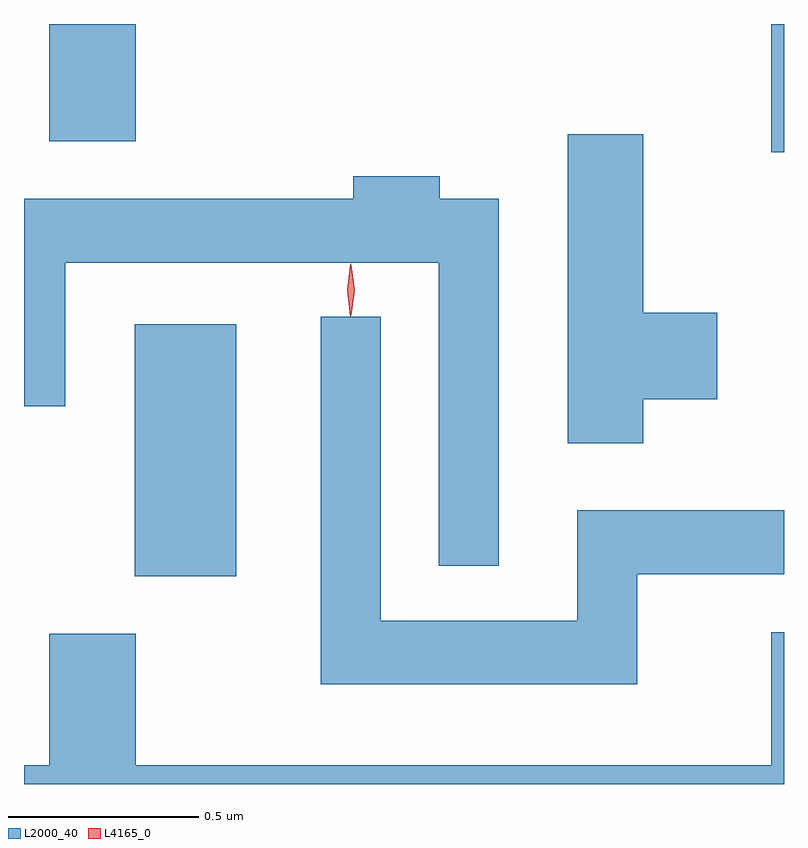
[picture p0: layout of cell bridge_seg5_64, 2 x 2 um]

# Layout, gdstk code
import gdstk
lib = gdstk.Library(unit=1e-6, precision=1e-09)
def R(c, l, rs):  # rectangles x0, y0, x1, y1
    for r in rs: c.add(gdstk.rectangle(r[:2], r[2:], *l))
def P(c, l, *ps):  # polygons
    for p in ps: c.add(gdstk.Polygon(p, *l))
L2000_40 = (2000, 40)
L4165_0 = (4165, 0)

bridge_seg5_64 = lib.new_cell('bridge_seg5_64')
R(bridge_seg5_64, L2000_40, [(1292.706,1475.321,1292.974,1475.984), (1294.381,1476.436,1294.415,1476.774), (1292.481,1476.466,1292.709,1476.774)])
P(bridge_seg5_64, L2000_40, [(1294.044,1475.786),(1294.239,1475.786),(1294.239,1476.014),(1294.044,1476.014),(1294.044,1476.484),(1293.846,1476.484),(1293.846,1475.671),(1294.044,1475.671)],
  [(1293.664,1476.314),(1293.509,1476.314),(1293.509,1476.374),(1293.281,1476.374),(1293.281,1476.314),(1292.415,1476.314),(1292.415,1475.768),(1292.524,1475.768),(1292.524,1476.146),(1293.506,1476.146),(1293.506,1475.348),(1293.664,1475.348)],
  [(1294.029,1475.326),(1294.415,1475.326),(1294.415,1475.494),(1293.871,1475.494),(1293.871,1475.204),(1293.354,1475.204),(1293.354,1476.003),(1293.196,1476.003),(1293.196,1475.036),(1294.029,1475.036)],
  [(1294.415,1475.174),(1294.381,1475.174),(1294.381,1474.824),(1292.709,1474.824),(1292.709,1475.169),(1292.481,1475.169),(1292.481,1474.824),(1292.415,1474.824),(1292.415,1474.774),(1294.415,1474.774)])
P(bridge_seg5_64, L4165_0, [(1293.275,1476.007),(1293.275,1476.007),(1293.265,1476.074),(1293.275,1476.14),(1293.275,1476.14),(1293.276,1476.14),(1293.285,1476.074),(1293.276,1476.007)],
  [(1293.275,1476.003),(1293.274,1476.004),(1293.265,1476.073),(1293.274,1476.142),(1293.275,1476.143),(1293.275,1476.142),(1293.285,1476.073),(1293.275,1476.004)])

lib.write_gds('bridge_seg5_64.gds')
